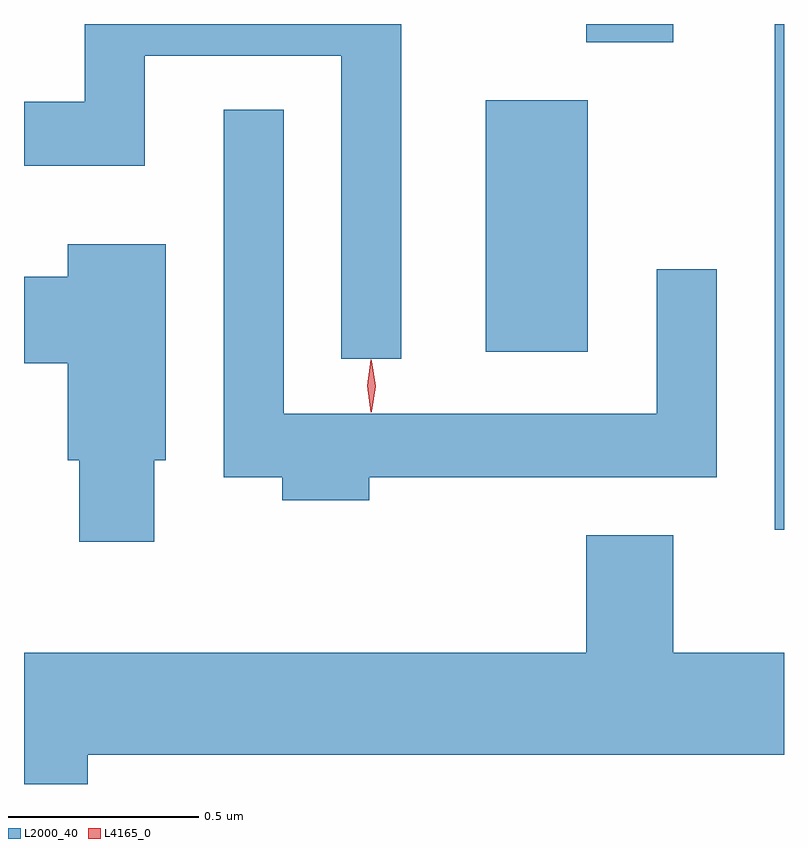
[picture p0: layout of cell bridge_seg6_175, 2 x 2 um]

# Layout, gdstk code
import gdstk
lib = gdstk.Library(unit=1e-6, precision=1e-09)
def R(c, l, rs):  # rectangles x0, y0, x1, y1
    for r in rs: c.add(gdstk.rectangle(r[:2], r[2:], *l))
def P(c, l, *ps):  # polygons
    for p in ps: c.add(gdstk.Polygon(p, *l))
L2000_40 = (2000, 40)
L4165_0 = (4165, 0)

bridge_seg6_175 = lib.new_cell('bridge_seg6_175')
R(bridge_seg6_175, L2000_40, [(1083.296,1583.928,1083.321,1585.259), (1082.536,1584.396,1082.804,1585.059), (1082.801,1585.211,1083.029,1585.259)])
P(bridge_seg6_175, L2000_40, [(1082.314,1585.259),(1081.481,1585.259),(1081.481,1585.054),(1081.321,1585.054),(1081.321,1584.886),(1081.639,1584.886),(1081.639,1585.176),(1082.156,1585.176),(1082.156,1584.378),(1082.314,1584.378)],
  [(1082.229,1584.066),(1083.144,1584.066),(1083.144,1584.613),(1082.986,1584.613),(1082.986,1584.234),(1082.004,1584.234),(1082.004,1585.033),(1081.846,1585.033),(1081.846,1584.066),(1082.001,1584.066),(1082.001,1584.006),(1082.229,1584.006)],
  [(1081.664,1584.111),(1081.694,1584.111),(1081.694,1584.679),(1081.436,1584.679),(1081.436,1584.594),(1081.321,1584.594),(1081.321,1584.366),(1081.436,1584.366),(1081.436,1584.111),(1081.466,1584.111),(1081.466,1583.896),(1081.664,1583.896)],
  [(1081.489,1583.336),(1083.321,1583.336),(1083.321,1583.604),(1083.029,1583.604),(1083.029,1583.914),(1082.801,1583.914),(1082.801,1583.604),(1081.321,1583.604),(1081.321,1583.259),(1081.489,1583.259)])
P(bridge_seg6_175, L4165_0, [(1082.234,1584.237),(1082.234,1584.237),(1082.224,1584.307),(1082.234,1584.376),(1082.234,1584.376),(1082.235,1584.376),(1082.244,1584.307),(1082.235,1584.237)],
  [(1082.236,1584.239),(1082.235,1584.24),(1082.226,1584.306),(1082.235,1584.372),(1082.236,1584.373),(1082.236,1584.372),(1082.246,1584.306),(1082.236,1584.24)])

lib.write_gds('bridge_seg6_175.gds')
